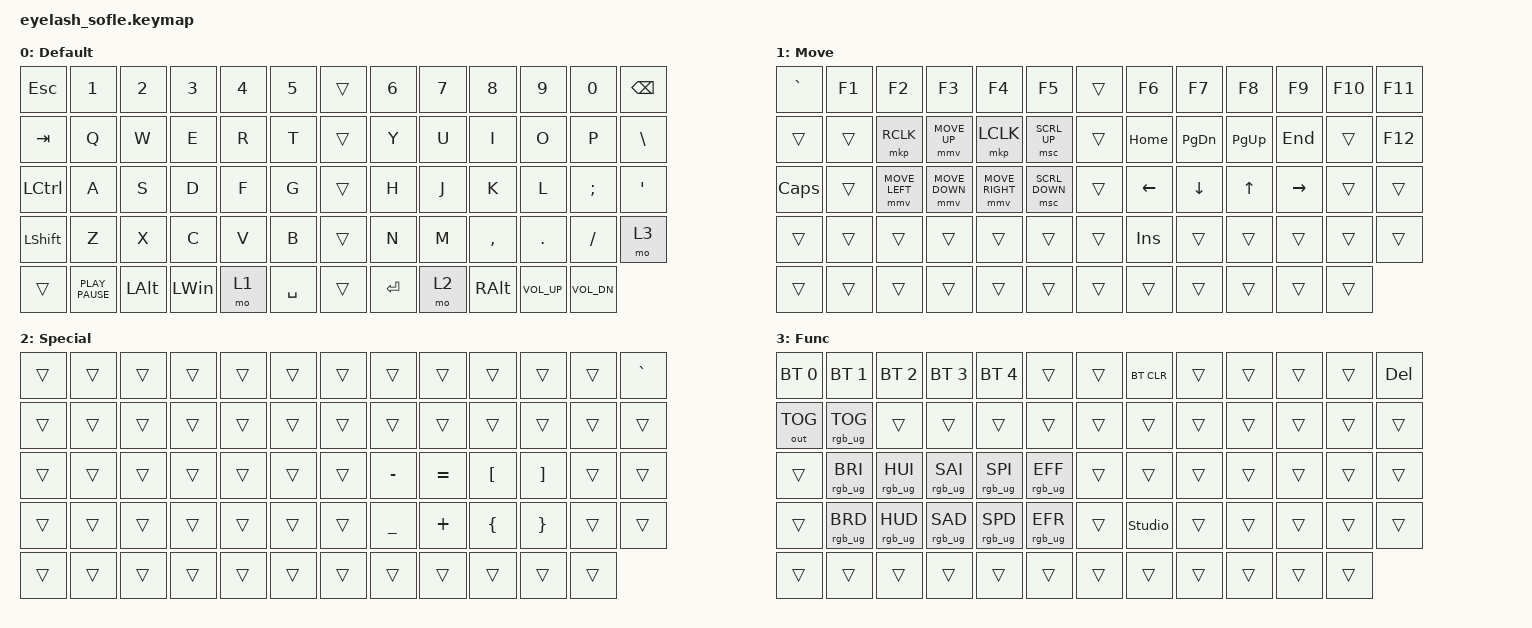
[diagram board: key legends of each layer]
#define ZMK_POINTING_DEFAULT_MOVE_VAL 1200  // 600
#define ZMK_POINTING_DEFAULT_SCRL_VAL 25   // 10

#include <input/processors.dtsi>
#include <zephyr/dt-bindings/input/input-event-codes.h>
#include <behaviors.dtsi>
#include <dt-bindings/zmk/bt.h>
#include <dt-bindings/zmk/keys.h>
#include <dt-bindings/zmk/outputs.h>
#include <dt-bindings/zmk/pointing.h>
#include <dt-bindings/zmk/rgb.h>

&mmv_input_listener { input-processors = <&zip_xy_scaler 2 1>; };

&msc_input_listener { input-processors = <&zip_scroll_scaler 2 1>; };

&msc {
    acceleration-exponent = <1>;      // 0
    time-to-max-speed-ms = <100>;       // 300
    delay-ms = <0>;                   // 0
};

&mmv {
    time-to-max-speed-ms = <500>;
    acceleration-exponent = <1>;
    trigger-period-ms = <16>;
};

&soft_off { hold-time-ms = <2000>; };

/ {
    scroll_encoder: scroll_encoder {
        compatible = "zmk,behavior-sensor-rotate";
        #sensor-binding-cells = <0>;
        bindings = <&msc SCRL_DOWN>, <&msc SCRL_UP>;

        tap-ms = <100>;
    };

    behaviors {
    };

    combos {
        compatible = "zmk,combos";

        softoff {
            bindings = <&soft_off>;
            key-positions = <14 28 40>;
        };
    };

    macros {
        SHIFT_MCLK: SHIFT_MCLK {
            compatible = "zmk,behavior-macro";
            #binding-cells = <0>;
            bindings =
                <&macro_press>,
                <&kp LEFT_SHIFT>,
                <&macro_press>,
                <&mkp MB3>,
                <&macro_pause_for_release>,
                <&macro_release>,
                <&kp LEFT_SHIFT &mkp MB3>;

            label = "SHIFT_MCLK";
        };
    };

    keymap {
        compatible = "zmk,keymap";

        Default {
            bindings = <
&kp ESC    &kp N1            &kp N2        &kp N3        &kp N4  &kp N5       &trans  &kp N6     &kp N7  &kp N8         &kp N9           &kp N0        &kp BACKSPACE
&kp TAB    &kp Q             &kp W         &kp E         &kp R   &kp T        &trans  &kp Y      &kp U   &kp I          &kp O            &kp P         &kp BSLH
&kp LCTRL  &kp A             &kp S         &kp D         &kp F   &kp G        &trans  &kp H      &kp J   &kp K          &kp L            &kp SEMI      &kp APOS
&kp LSHFT  &kp Z             &kp X         &kp C         &kp V   &kp B        &trans  &kp N      &kp M   &kp COMMA      &kp DOT          &kp FSLH      &mo 3
&trans     &kp K_PLAY_PAUSE  &kp LEFT_ALT  &kp LEFT_WIN  &mo 1   &kp SPACE    &trans  &kp ENTER  &mo 2   &kp RIGHT_ALT  &kp C_VOLUME_UP  &kp C_VOL_DN
            >;

            display-name = "Default";
        };

        Move {
            bindings = <
&kp GRAVE     &kp F1  &kp F2          &kp F3          &kp F4           &kp F5            &trans  &kp F6    &kp F7         &kp F8        &kp F9     &kp F10  &kp F11
&trans        &trans  &mkp RCLK       &mmv MOVE_UP    &mkp LCLK        &msc SCRL_UP      &trans  &kp HOME  &kp PAGE_DOWN  &kp PAGE_UP   &kp END    &trans   &kp F12
&kp CAPSLOCK  &trans  &mmv MOVE_LEFT  &mmv MOVE_DOWN  &mmv MOVE_RIGHT  &msc SCRL_DOWN    &trans  &kp LEFT  &kp DOWN       &kp UP_ARROW  &kp RIGHT  &trans   &trans
&trans        &trans  &trans          &trans          &trans           &trans            &trans  &kp INS   &trans         &trans        &trans     &trans   &trans
&trans        &trans  &trans          &trans          &trans           &trans            &trans  &trans    &trans         &trans        &trans     &trans
            >;

            display-name = "Move";
        };

        Special {
            bindings = <
&trans  &trans  &trans  &trans  &trans  &trans    &trans  &trans     &trans     &trans          &trans           &trans  &kp GRAVE
&trans  &trans  &trans  &trans  &trans  &trans    &trans  &trans     &trans     &trans          &trans           &trans  &trans
&trans  &trans  &trans  &trans  &trans  &trans    &trans  &kp MINUS  &kp EQUAL  &kp LBKT        &kp RBKT         &trans  &trans
&trans  &trans  &trans  &trans  &trans  &trans    &trans  &kp UNDER  &kp PLUS   &kp LEFT_BRACE  &kp RIGHT_BRACE  &trans  &trans
&trans  &trans  &trans  &trans  &trans  &trans    &trans  &trans     &trans     &trans          &trans           &trans
            >;

            display-name = "Special";
        };

        Func {
            bindings = <
&bt BT_SEL 0  &bt BT_SEL 1     &bt BT_SEL 2     &bt BT_SEL 3     &bt BT_SEL 4     &trans             &trans  &bt BT_CLR      &trans  &trans  &trans  &trans  &kp DELETE
&out OUT_TOG  &rgb_ug RGB_TOG  &trans           &trans           &trans           &trans             &trans  &trans          &trans  &trans  &trans  &trans  &trans
&trans        &rgb_ug RGB_BRI  &rgb_ug RGB_HUI  &rgb_ug RGB_SAI  &rgb_ug RGB_SPI  &rgb_ug RGB_EFF    &trans  &trans          &trans  &trans  &trans  &trans  &trans
&trans        &rgb_ug RGB_BRD  &rgb_ug RGB_HUD  &rgb_ug RGB_SAD  &rgb_ug RGB_SPD  &rgb_ug RGB_EFR    &trans  &studio_unlock  &trans  &trans  &trans  &trans  &trans
&trans        &trans           &trans           &trans           &trans           &trans             &trans  &trans          &trans  &trans  &trans  &trans
            >;

            display-name = "Func";
        };
    };
};
